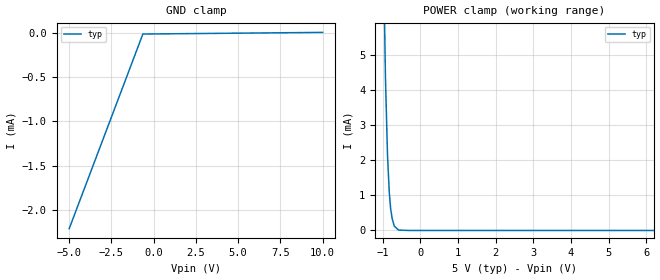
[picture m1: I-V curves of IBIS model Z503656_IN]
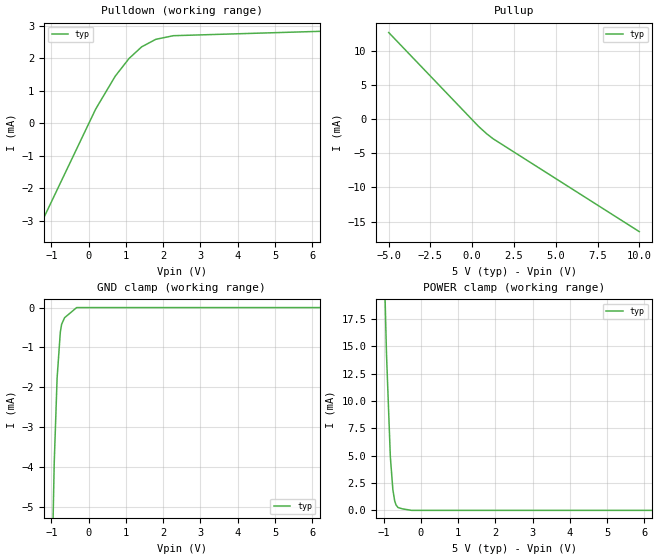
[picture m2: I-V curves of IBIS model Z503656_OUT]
| YOU ARE ONLY AUTHORIZED TO USE THIS SOFTWARE
| ACCORDING TO LICENSOR'S LICENSE RESTRICTIONS.
[IBIS Ver] 3.1
[File Name] mc14539bcl.ibs
[File Rev] 2.0
[Source] Measured and created by ICX Technology
[Date] Friday 7/14/00 9:07:56 AM
[Copyright]
| (C) COPYRIGHT 1993-2000
| MENTOR GRAPHICS CORPORATION
| ICX STANDARD LIBRARY, ICX PROJECT MODELING,
| ICX CUSTOM MODELING, ICX VENDOR MODEL
| ALL RIGHTS RESERVED.
| THE FOLLOWING ARE TRADEMARKS OR SERVICE MARKS OF
| MENTOR GRAPHICS CORPORATION:ICX (R), ICX STANDARD
| LIBRARY(R), ICX PROJECT MODELING(R), ICX CUSTOM
| MODELING(R), qualityIBIS(TM), MODELVIEWER(TM),
| AND MODELEDITOR(TM)
| ALL COPIES OF SOFTWARE, INCLUDING BUT NOT LIMITED TO
| ANY MODIFICATIONS, ENHANCEMENTS OR DERIVATIVE WORKS,
| MUST CONTAIN ALL MENTOR GRAPHICS CORPORATION'S
| NOTICES AND LEGENDS, INCLUDING THOSE EMBEDDED IN
| SOFTWARE AND THOSE AFFIXED TO SOFTWARE MEDIUM
| AND CONTAINER, AS RECEIVED FROM MENTOR GRAPHICS
| CORPORATION.
|  ZAP Model Builder 2.7
[Component] MC14539BCL
[Manufacturer] OnSemiconductor
[Package]
| variable   typ   min   max
R_pkg  .212ohms NA NA
L_pkg  4.758nH NA NA
C_pkg  1.944pF NA NA
[Pin] signal_name  model_name  R_pin  L_pin C_pin
1 STR Z503656_IN .224 7.258n 2.683p
2 B Z503656_IN .216 5.258n 2.19p
3 X3 Z503656_IN .208 3.758n 1.697p
4 X2 Z503656_IN .2 2.758n 1.204p
5 X1 Z503656_IN .2 2.758n 1.204p
6 X0 Z503656_IN .208 3.758n 1.697p
7 Z Z503656_OUT .216 5.258n 2.19p
8 VSS POWER .224 7.258n 2.683p
9 W Z503656_OUT .224 7.258n 2.683p
10 Y0 Z503656_IN .216 5.258n 2.19p
11 Y1 Z503656_IN .208 3.758n 1.697p
12 Y2 Z503656_IN .2 2.758n 1.204p
13 Y3 Z503656_IN .2 2.758n 1.204p
14 A Z503656_IN .208 3.758n 1.697p
15 _STRB Z503656_IN .216 5.258n 2.19p
16 VDD POWER .224 7.258n 2.683p
| Models and submodels in the file (2): Z503656_IN (Input), Z503656_OUT (Output)
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| (C) COPYRIGHT 1993-2000
| MENTOR GRAPHICS CORPORATION
| ICX STANDARD LIBRARY, ICX PROJECT MODELING,
| ICX CUSTOM MODELING, ICX VENDOR MODEL
| ALL RIGHTS RESERVED.
| THE FOLLOWING ARE TRADEMARKS OR SERVICE MARKS OF
| MENTOR GRAPHICS CORPORATION:ICX (R), ICX STANDARD
| LIBRARY(R), ICX PROJECT MODELING(R), ICX CUSTOM
| MODELING(R), qualityIBIS(TM), MODELVIEWER(TM),
| AND MODELEDITOR(TM)
| ALL COPIES OF SOFTWARE, INCLUDING BUT NOT LIMITED TO
| ANY MODIFICATIONS, ENHANCEMENTS OR DERIVATIVE WORKS,
| MUST CONTAIN ALL MENTOR GRAPHICS CORPORATION'S
| NOTICES AND LEGENDS, INCLUDING THOSE EMBEDDED IN
| SOFTWARE AND THOSE AFFIXED TO SOFTWARE MEDIUM
| AND CONTAINER, AS RECEIVED FROM MENTOR GRAPHICS
| CORPORATION.
| Model Application Version 1.89 2/18/99.
[Model] Z503656_IN
Model_type Input
Vinl = 1.500V
Vinh = 3.500V
C_comp 4.000pF NA NA
| variable typ   min   max
[Voltage Range] 5.000V NA NA
[GND Clamp Reference] 0.000V NA NA
[POWER Clamp Reference] 5.000V NA NA
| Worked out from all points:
|   POWER clamp passes 1 mA (typ) near -0.81 V on its own axis
[GND Clamp]
-5V       -2.211mA   NA         NA
-639.5mV  -15.43uA   NA         NA
10V       3.028uA    NA         NA
[POWER Clamp]
-5V       400.3mA    NA         NA
-1.029V   11.75mA    NA         NA
-923mV    4.39mA     NA         NA
-868mV    2.155mA    NA         NA
-820mV    1.075mA    NA         NA
-785mV    626.2uA    NA         NA
-744mV    341.7uA    NA         NA
-688mV    123.5uA    NA         NA
-572mV    10.84uA    NA         NA
-286mV    0A         NA         NA
10V       0A         NA         NA
| (C) COPYRIGHT 1993-2000
| MENTOR GRAPHICS CORPORATION
| ICX STANDARD LIBRARY, ICX PROJECT MODELING,
| ICX CUSTOM MODELING, ICX VENDOR MODEL
| ALL RIGHTS RESERVED.
| THE FOLLOWING ARE TRADEMARKS OR SERVICE MARKS OF
| MENTOR GRAPHICS CORPORATION:ICX (R), ICX STANDARD
| LIBRARY(R), ICX PROJECT MODELING(R), ICX CUSTOM
| MODELING(R), qualityIBIS(TM), MODELVIEWER(TM),
| AND MODELEDITOR(TM)
| ALL COPIES OF SOFTWARE, INCLUDING BUT NOT LIMITED TO
| ANY MODIFICATIONS, ENHANCEMENTS OR DERIVATIVE WORKS,
| MUST CONTAIN ALL MENTOR GRAPHICS CORPORATION'S
| NOTICES AND LEGENDS, INCLUDING THOSE EMBEDDED IN
| SOFTWARE AND THOSE AFFIXED TO SOFTWARE MEDIUM
| AND CONTAINER, AS RECEIVED FROM MENTOR GRAPHICS
| CORPORATION.
| Model Application Version 1.89 2/18/99.
[Model] Z503656_OUT
Model_type Output
Vref=0.000V
Rref=500.0Mohms
Cref=50.00pF
Vmeas=2.500V
C_comp 8.000pF NA NA
| variable typ   min   max
[Voltage Range] 5.000V NA NA
[POWER Clamp Reference] 5.000V NA NA
[Pullup Reference] 5.000V NA NA
[Pulldown Reference] 0.000V NA NA
[GND Clamp Reference] 0.000V NA NA
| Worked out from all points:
|   slope of the pulldown table from 0 to 0.75 V, typ, clamps not added: 495 ohm
|   slope of the pullup table from 0 to 0.75 V, typ, clamps not added: 418 ohm
|   GND clamp passes 1 mA (typ) near -0.79 V on its own axis
|   POWER clamp passes 1 mA (typ) near -0.71 V on its own axis
[GND Clamp]
-5V       -192.7mA   NA         NA
-926.7mV  -3.907mA   NA         NA
-848.7mV  -1.758mA   NA         NA
-761.9mV  -610.9uA   NA         NA
-727.6mV  -419.2uA   NA         NA
-647.8mV  -253.7uA   NA         NA
-323.9mV  0A         NA         NA
10V       0A         NA         NA
[Pulldown]
-5V       -12.01mA   NA         NA
185.5mV   432.8uA    NA         NA
711.5mV   1.447mA    NA         NA
1.084V    1.993mA    NA         NA
1.421V    2.349mA    NA         NA
1.8V      2.58mA     NA         NA
2.275V    2.692mA    NA         NA
10V       2.955mA    NA         NA
[Pullup]
-5V       12.7mA     NA         NA
376mV     -1.046mA   NA         NA
860mV     -2.123mA   NA         NA
1.251V    -2.867mA   NA         NA
10V       -16.47mA   NA         NA
[POWER Clamp]
-5V       557.9mA    NA         NA
-923mV    14.25mA    NA         NA
-820mV    4.896mA    NA         NA
-752mV    1.886mA    NA         NA
-703mV    857.4uA    NA         NA
-669mV    506.4uA    NA         NA
-614mV    260uA      NA         NA
-497mV    138.3uA    NA         NA
-248.5mV  0A         NA         NA
10V       0A         NA         NA
[Ramp]
| variable typ min max
dV/dt_r 2.588/14.36n NA NA
dV/dt_f 2.588/11.12n NA NA
R_load = 2.500kOhms
